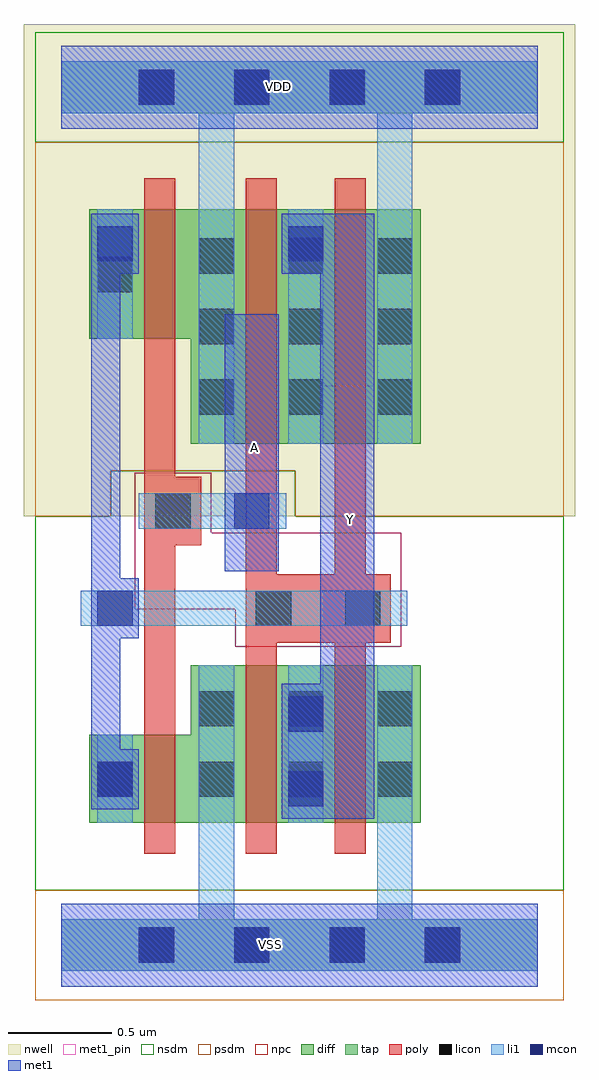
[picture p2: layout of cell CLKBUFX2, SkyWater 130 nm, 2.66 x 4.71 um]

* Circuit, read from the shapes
.subckt CLKBUFX2 A VDD VSS Y
XM1 VSS A n1 VSS sky130_fd_pr__nfet_01v8 w=0.425 l=0.15
XM2 Y n1 VSS VSS sky130_fd_pr__nfet_01v8 w=0.76 l=0.15 m=2
XM3 VDD A n1 VDD sky130_fd_pr__pfet_01v8 w=0.625 l=0.15
XM4 Y n1 VDD VDD sky130_fd_pr__pfet_01v8 w=1.13 l=0.15 m=2
.ends

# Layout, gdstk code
import gdstk
lib = gdstk.Library(unit=1e-6, precision=1e-09)
def R(c, l, rs):  # rectangles x0, y0, x1, y1
    for r in rs: c.add(gdstk.rectangle(r[:2], r[2:], *l))
def A(c, l, x, y, w, h, nx, ny, dx, dy):  # array of equal rectangles
    R(c, l, [(x+i*dx, y+j*dy, x+i*dx+w, y+j*dy+h) for i in range(nx) for j in range(ny)])
def P(c, l, *ps):  # polygons
    for p in ps: c.add(gdstk.Polygon(p, *l))
nwell = (64, 20)
diff = (65, 20)
tap = (65, 44)
poly = (66, 20)
licon = (66, 44)
li1 = (67, 20)
mcon = (67, 44)
met1_pin = (68, 16)
met1 = (68, 20)
nsdm = (93, 44)
psdm = (94, 20)
npc = (95, 20)

clkbufx2 = lib.new_cell('CLKBUFX2')
R(clkbufx2, nwell, [(-0.18,2.07,2.48,4.445)])
P(clkbufx2, diff, [(1.735,3.55),(0.135,3.55),(0.135,2.925),(0.625,2.925),(0.625,2.42),(1.735,2.42)],
  [(1.735,1.35),(0.625,1.35),(0.625,1.015),(0.135,1.015),(0.135,0.59),(1.735,0.59)])
R(clkbufx2, poly, [(0.4,0.44,0.55,3.7), (0.89,1.46,1.16,1.79), (1.32,1.46,1.59,1.79), (0.405,1.93,0.675,2.26)])
P(clkbufx2, poly, [(1.59,1.79),(1.47,1.79),(1.47,3.7),(1.32,3.7),(1.32,1.79),(1.04,1.79),(1.04,3.7),(0.89,3.7),(0.89,0.44),(1.04,0.44),(1.04,1.46),(1.32,1.46),(1.32,0.44),(1.47,0.44),(1.47,1.46),(1.59,1.46)])
A(clkbufx2, licon, 0.375, -0.085, 0.17, 0.17, 4, 2, 0.46, 4.14)
A(clkbufx2, licon, 0.665, 0.715, 0.17, 0.17, 3, 2, 0.43, 0.34)
A(clkbufx2, licon, 0.665, 2.56, 0.17, 0.17, 3, 3, 0.43, 0.34)
R(clkbufx2, licon, [(0.175,0.715,0.345,0.885), (0.94,1.54,1.11,1.71), (1.37,1.54,1.54,1.71), (0.455,2.01,0.625,2.18), (0.175,3.15,0.345,3.32)])
R(clkbufx2, li1, [(0.175,0.59,0.345,1.015), (1.095,0.59,1.265,1.35), (1.095,0.59,1.265,1.28), (0.175,0.635,0.345,0.965), (0.095,1.54,0.425,1.71), (0.755,2.01,1.085,2.18), (1.095,2.42,1.265,3.55), (0.175,2.925,0.345,3.55), (0.175,3.22,0.345,3.55), (1.095,3.22,1.265,3.55)])
P(clkbufx2, li1, [(2.3,0.125),(1.695,0.125),(1.695,1.35),(1.525,1.35),(1.525,0.125),(0.835,0.125),(0.835,1.35),(0.665,1.35),(0.665,0.125),(0,0.125),(0,-0.125),(2.3,-0.125)],
  [(2.3,4.265),(0,4.265),(0,4.015),(0.665,4.015),(0.665,2.42),(0.835,2.42),(0.835,4.015),(1.525,4.015),(1.525,2.42),(1.695,2.42),(1.695,4.015),(2.3,4.015)])
A(clkbufx2, mcon, 0.375, -0.085, 0.17, 0.17, 4, 2, 0.46, 4.14)
R(clkbufx2, mcon, [(1.095,0.67,1.265,0.84), (0.175,0.715,0.345,0.885), (1.095,1.03,1.265,1.2), (0.175,1.54,0.345,1.71), (0.835,2.01,1.005,2.18), (0.175,3.3,0.345,3.47), (1.095,3.3,1.265,3.47)])
R(clkbufx2, met1_pin, [(1.25,1.46,1.51,2.7), (0.79,1.805,1.05,3.045)])
R(clkbufx2, met1, [(1.065,0.61,1.295,1.26), (0.145,0.655,0.375,0.945), (0.145,1.48,0.375,1.77), (0.805,1.95,1.035,2.24), (0.145,3.24,0.375,3.53), (1.065,3.24,1.295,3.53)])
R(clkbufx2, nsdm, [(-0.125,3.875,2.425,4.405)])
P(clkbufx2, nsdm, [(2.425,2.07),(1.13,2.07),(1.13,2.29),(0.24,2.29),(0.24,2.07),(-0.125,2.07),(-0.125,0.265),(2.425,0.265)])
R(clkbufx2, psdm, [(-0.125,-0.265,2.425,0.265)])
P(clkbufx2, psdm, [(2.425,3.875),(-0.125,3.875),(-0.125,2.07),(0.24,2.07),(0.24,2.29),(1.13,2.29),(1.13,2.07),(2.425,2.07)])
R(clkbufx2, npc, [(0.84,1.44,1.21,1.81), (1.27,1.44,1.64,1.81), (0.355,1.91,0.725,2.28)])
P(clkbufx2, npc, [(1.64,1.99),(0.355,1.99),(0.355,1.62),(0.84,1.62),(0.84,1.44),(1.64,1.44)])
clkbufx2.add(gdstk.FlexPath([(0.92,2.095),(0.375,2.095)], 0.17, ends="flush", simple_path=True, layer=67, datatype=20))  # li1
clkbufx2.add(gdstk.FlexPath([(0.305,1.625),(1.67,1.625)], 0.17, ends="flush", simple_path=True, layer=67, datatype=20))  # li1
clkbufx2.add(gdstk.FlexPath([(0,0),(2.3,0)], 0.4, ends="flush", simple_path=True, layer=68, datatype=20))  # met1
clkbufx2.add(gdstk.FlexPath([(0.215,3.46),(0.215,0.8)], 0.14, ends="extended", simple_path=True, layer=68, datatype=20))  # met1
clkbufx2.add(gdstk.FlexPath([(0.92,1.805),(0.92,3.045)], 0.26, ends="flush", simple_path=True, layer=68, datatype=20))  # met1
clkbufx2.add(gdstk.FlexPath([(1.38,0.61),(1.38,3.53)], 0.26, ends="flush", simple_path=True, layer=68, datatype=20))  # met1
clkbufx2.add(gdstk.FlexPath([(0,4.14),(2.3,4.14)], 0.4, ends="flush", simple_path=True, layer=68, datatype=20))  # met1
clkbufx2.add(gdstk.FlexPath([(0,4.14),(2.3,4.14)], 0.25, ends="flush", simple_path=True, layer=65, datatype=44))  # tap
clkbufx2.add(gdstk.FlexPath([(0,0),(2.3,0)], 0.25, ends="flush", simple_path=True, layer=65, datatype=44))  # tap
clkbufx2.add(gdstk.FlexPath([(0,0),(2.3,0)], 0.4, ends="flush", simple_path=True, layer=68, datatype=16))  # met1_pin
clkbufx2.add(gdstk.FlexPath([(0,4.14),(2.3,4.14)], 0.4, ends="flush", simple_path=True, layer=68, datatype=16))  # met1_pin
clkbufx2.add(gdstk.Label('Y', (1.395,2.055), layer=68, texttype=5))
clkbufx2.add(gdstk.Label('A', (0.935,2.4), layer=68, texttype=5))
clkbufx2.add(gdstk.Label('VDD', (1.05,4.145), layer=68, texttype=5))
clkbufx2.add(gdstk.Label('VSS', (1.01,0.005), layer=68, texttype=5))

lib.write_gds('CLKBUFX2.gds')
